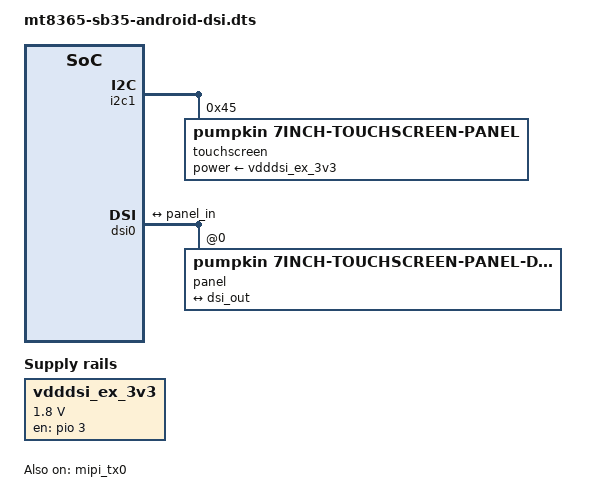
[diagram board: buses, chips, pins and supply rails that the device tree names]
/dts-v1/;
/plugin/;

#include <dt-bindings/gpio/gpio.h>
#include "dt-bindings/interrupt-controller/irq.h"
#include <dt-bindings/pinctrl/mt8365-pinfunc.h>

&{/} {
	vdddsi_ex_3v3: vdddsi-ex-3v3-regulator {
		compatible = "regulator-fixed";
		regulator-name = "vdddsi-ex-3v3";
		regulator-min-microvolt = <1800000>;
		regulator-max-microvolt = <1800000>;
		gpio = <&pio 3 GPIO_ACTIVE_HIGH>;
		enable-active-high;
		regulator-always-on;
	};
};


&reserved_memory {
	#address-cells = <2>;
	#size-cells = <2>;
	ramoops@0x4FF00000 {
		compatible = "ramoops";
		reg = <0x0 0x4FF00000 0x0 0x00100000>;
		record-size = <0x00008000>;
		console-size = <0x00008000>;
		ftrace-size = <0x00000000>;
		pmsg-size = <0x00008000>;
	};
};

&pio {
	panel_pins: lcd-pins {
		pin_p3v3_dsi_en {
			pinmux = <MT8365_PIN_3_GPIO3__FUNC_GPIO3>;
		};

		pin_dsi_sel {
			pinmux = <MT8365_PIN_2_GPIO2__FUNC_GPIO2>;
			output-high;
		};
	};
};

&i2c1 {
	#address-cells = <1>;
	#size-cells = <0>;

	hdmi-bridge@3b {
		status = "disabled";
	};

	touchscreen: touchscreen@0 {
		compatible = "pumpkin,7inch-touchscreen-panel";
		reg = <0x45>;
		status = "okay";
		pinctrl-0 = <&panel_pins>;
		pinctrl-names = "default";
		power-supply = <&vdddsi_ex_3v3>;
	};
};

&mipi_tx0 {
	status = "okay";
};

&dsi0 {
	status = "okay";
	#address-cells = <1>;
	#size-cells = <0>;

	ports {
		#address-cells = <1>;
		#size-cells = <0>;
		port@0 {
			reg = <0>;

			dsi_out: endpoint {
				remote-endpoint = <&panel_in>;
			};
		};
	};

	panel@0 {
		compatible = "pumpkin,7inch-touchscreen-panel-dsi";
		reg = <0>;
		pumpkin,touchscreen = <&touchscreen>;

		port {
			panel_in: endpoint {
				remote-endpoint = <&dsi_out>;
			};
		};
	};
};



